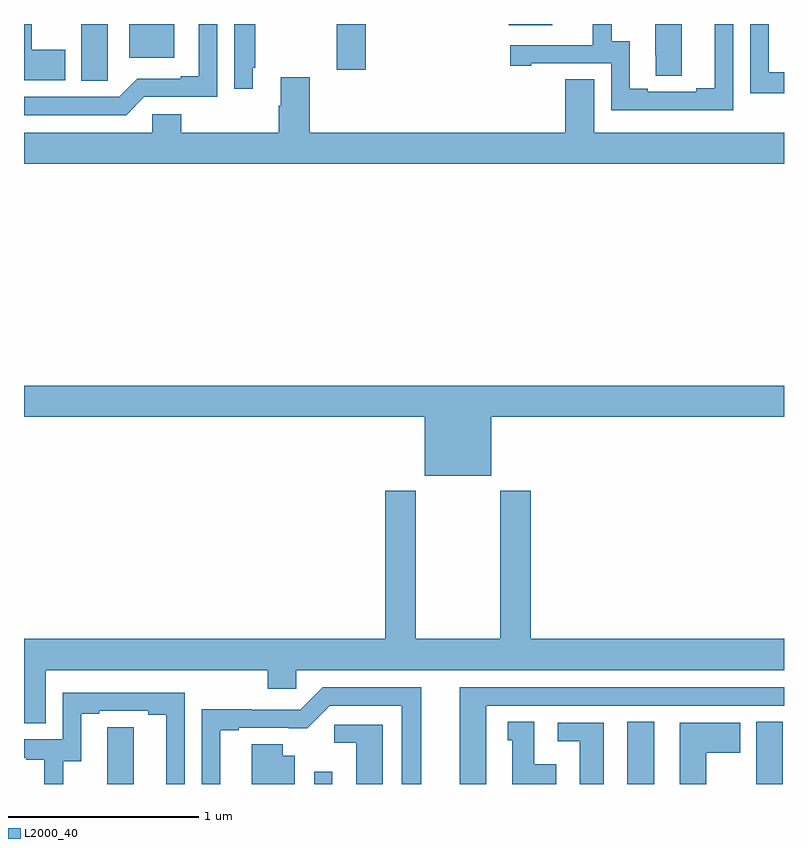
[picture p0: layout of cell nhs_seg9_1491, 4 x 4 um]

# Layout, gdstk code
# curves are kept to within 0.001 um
import gdstk
lib = gdstk.Library(unit=1e-6, precision=1e-09)
def R(c, l, rs):  # rectangles x0, y0, x1, y1
    for r in rs: c.add(gdstk.rectangle(r[:2], r[2:], *l))
def P(c, l, *ps):  # polygons
    for p in ps: c.add(gdstk.Polygon(p, *l))
L2000_40 = (2000, 40)

nhs_seg9_1491 = lib.new_cell('nhs_seg9_1491')
R(nhs_seg9_1491, L2000_40, [(196.527,1182.5,196.623,1182.565), (198.176,1182.5,198.316,1182.827), (196.645,1186.26,196.799,1186.5), (195.554,1186.322,195.79,1186.5), (197.552,1186.493,197.779,1186.5)])
P(nhs_seg9_1491, L2000_40, [(198.463,1186.5),(198.323,1186.5),(198.323,1186.336),(198.324,1186.336),(198.324,1186.228),(198.463,1186.228)],
  [(195.217,1186.365),(195.04,1186.365),(195.04,1186.5),(195,1186.5),(195,1186.205),(195.217,1186.205)],
  [(195.441,1186.312),(195.442,1186.312),(195.442,1186.5),(195.302,1186.5),(195.302,1186.201),(195.441,1186.201)],
  [(195.633,1186.116),(196.017,1186.116),(196.017,1186.5),(195.92,1186.5),(195.92,1186.225),(195.824,1186.225),(195.824,1186.212),(195.597,1186.212),(195.501,1186.116),(195,1186.116),(195,1186.02),(195.537,1186.02)],
  [(196.204,1186.27),(196.216,1186.27),(196.216,1186.5),(196.107,1186.5),(196.107,1186.158),(196.204,1186.158)],
  [(198.732,1186.5),(198.635,1186.5),(198.635,1186.163),(198.539,1186.163),(198.539,1186.143),(198.283,1186.143),(198.283,1186.158),(198.187,1186.158),(198.187,1186.409),(198.093,1186.409),(198.093,1186.5),(197.994,1186.5),(197.994,1186.39),(197.993,1186.39),(197.993,1186.389),(197.559,1186.389),(197.559,1186.281),(197.671,1186.281),(197.671,1186.293),(198.09,1186.293),(198.09,1186.047),(198.732,1186.047)],
  [(199,1186.246),(198.919,1186.246),(198.919,1186.5),(198.822,1186.5),(198.822,1186.136),(199,1186.136)],
  [(199,1185.928),(198.001,1185.928),(198.001,1186.208),(197.849,1186.208),(197.849,1185.928),(196.505,1185.928),(196.505,1186.219),(196.352,1186.219),(196.352,1186.07),(196.34,1186.07),(196.34,1185.928),(195.827,1185.928),(195.827,1186.026),(195.675,1186.026),(195.675,1185.928),(195,1185.928),(195,1185.764),(199,1185.764)],
  [(197.458,1184.432),(199,1184.432),(199,1184.596),(195,1184.596),(195,1184.432),(197.108,1184.432),(197.108,1184.123),(197.458,1184.123)],
  [(195.115,1183.1),(196.283,1183.1),(196.283,1183.002),(196.434,1183.002),(196.434,1183.1),(199,1183.1),(199,1183.264),(197.666,1183.264),(197.666,1184.044),(197.506,1184.044),(197.506,1183.264),(197.061,1183.264),(197.061,1184.044),(196.901,1184.044),(196.901,1183.264),(195,1183.264),(195,1182.82),(195.115,1182.82)],
  [(197.434,1182.912),(199,1182.912),(199,1183.008),(197.294,1183.008),(197.294,1182.5),(197.434,1182.5)],
  [(196.033,1182.783),(196.129,1182.783),(196.129,1182.795),(196.49,1182.794),(196.608,1182.912),(196.988,1182.912),(196.988,1182.5),(197.092,1182.5),(197.092,1183.008),(196.572,1183.008),(196.455,1182.891),(196.199,1182.891),(196.199,1182.893),(195.936,1182.893),(195.936,1182.5),(196.033,1182.5)],
  [(195.207,1182.619),(195.301,1182.619),(195.301,1182.87),(195.397,1182.87),(195.397,1182.885),(195.653,1182.885),(195.653,1182.865),(195.749,1182.865),(195.749,1182.5),(195.846,1182.5),(195.846,1182.981),(195.204,1182.981),(195.204,1182.735),(195,1182.735),(195,1182.639),(195.011,1182.639),(195.011,1182.627),(195.107,1182.627),(195.107,1182.5),(195.207,1182.5)],
  [(197.8,1182.604),(197.686,1182.604),(197.686,1182.827),(197.546,1182.827),(197.546,1182.729),(197.57,1182.729),(197.57,1182.5),(197.8,1182.5)],
  [(198.994,1182.716),(198.993,1182.716),(198.993,1182.827),(198.854,1182.827),(198.854,1182.5),(198.994,1182.5)],
  [(198.592,1182.664),(198.769,1182.664),(198.769,1182.823),(198.452,1182.823),(198.452,1182.5),(198.592,1182.5)],
  [(198.052,1182.822),(197.808,1182.822),(197.808,1182.726),(197.924,1182.726),(197.924,1182.5),(198.052,1182.5)],
  [(196.888,1182.813),(196.632,1182.813),(196.632,1182.716),(196.748,1182.716),(196.748,1182.5),(196.888,1182.5)],
  [(195.577,1182.8),(195.438,1182.8),(195.438,1182.692),(195.437,1182.692),(195.437,1182.5),(195.577,1182.5)],
  [(196.426,1182.649),(196.363,1182.649),(196.363,1182.71),(196.199,1182.71),(196.199,1182.5),(196.426,1182.5)])

lib.write_gds('nhs_seg9_1491.gds')
